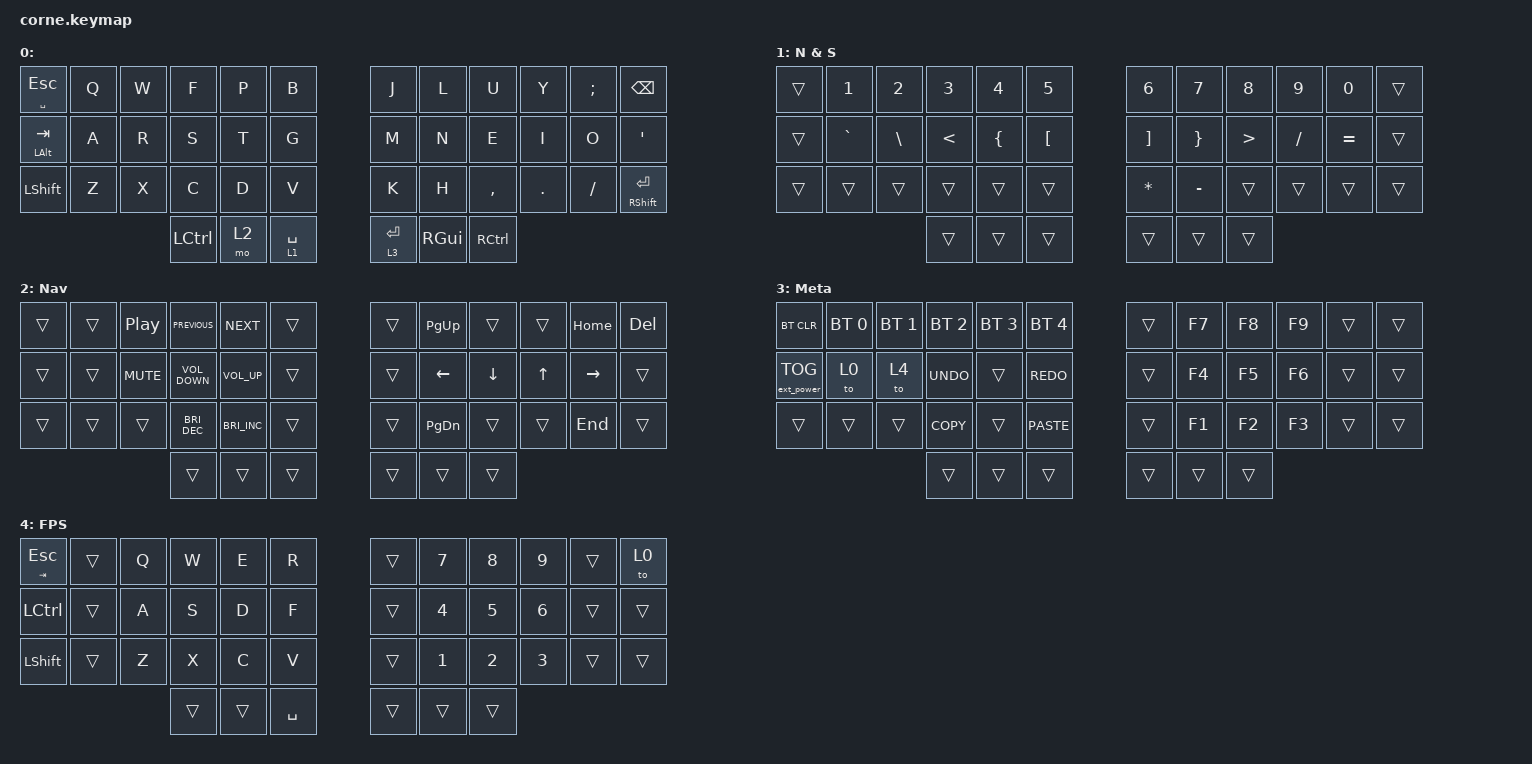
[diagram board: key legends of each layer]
/*
 * Copyright (c) 2020 The ZMK Contributors
 *
 * SPDX-License-Identifier: MIT
 */

#include <behaviors.dtsi>
#include <dt-bindings/zmk/bt.h>
#include <dt-bindings/zmk/ext_power.h>
#include <dt-bindings/zmk/keys.h>

/ {
    combos {
        compatible = "zmk,combos";

        Reset {
            bindings = <&to 0>;
            key-positions = <21 23>;
        };
    };

    keymap {
        compatible = "zmk,keymap";

        Base {
            // -----------------------------------------------------------------------------------------
            // |  TAB |  Q  |  W  |  F  |  P  |  B  |   |  J  |  L   |  U  |  Y  |  ;  | BKSP |
            // | CTRL |  A  |  R  |  S  |  T  |  G  |   |  M  |  N   |  E  |  I  |  O  |  '   |
            // | SHFT |  Z  |  X  |  C  |  D  |  V  |   |  K  |  H   |  ,  |  .  |  /  | ESC  |
            //                    | GUI | LWR | SPC |   | ENT | RSE  | ALT |

            display-name = " ";
            bindings = <
&mt SPACE ESCAPE  &kp Q  &kp W  &kp F             &kp P  &kp B          &kp J        &kp L          &kp U              &kp Y    &kp SEMI  &kp BSPC
&mt LEFT_ALT TAB  &kp A  &kp R  &kp S             &kp T  &kp G          &kp M        &kp N          &kp E              &kp I    &kp O     &kp SQT
&kp LSHFT         &kp Z  &kp X  &kp C             &kp D  &kp V          &kp K        &kp H          &kp COMMA          &kp DOT  &kp FSLH  &mt RIGHT_SHIFT ENTER
                                &kp LEFT_CONTROL  &mo 2  &lt 1 SPACE    &lt 3 ENTER  &kp RIGHT_GUI  &kp RIGHT_CONTROL
            >;
        };

        Numbers {
            // -----------------------------------------------------------------------------------------
            // |  TAB |  1  |  2  |  3  |  4  |  5  |   |  6  |  7  |  8  |  9  |  0  | BKSP |
            // | BTCLR| BT1 | BT2 | BT3 | BT4 | BT5 |   | LFT | DWN |  UP | RGT |     |      |
            // | SHFT |     |     |     |     |     |   |     |     |     |     |     |      |
            //                    | GUI |     | SPC |   | ENT |     | ALT |

            display-name = "N & S";
            bindings = <
&trans  &kp N1     &kp N2         &kp N3         &kp N4          &kp N5              &kp N6             &kp N7           &kp N8            &kp N9     &kp N0     &trans
&trans  &kp GRAVE  &kp BACKSLASH  &kp LESS_THAN  &kp LEFT_BRACE  &kp LEFT_BRACKET    &kp RIGHT_BRACKET  &kp RIGHT_BRACE  &kp GREATER_THAN  &kp SLASH  &kp EQUAL  &trans
&trans  &trans     &trans         &trans         &trans          &trans              &kp STAR           &kp MINUS        &trans            &trans     &trans     &trans
                                  &trans         &trans          &trans              &trans             &trans           &trans
            >;
        };

        Navigation {
            bindings = <
&trans  &trans  &kp C_PLAY_PAUSE  &kp K_PREVIOUS        &kp K_NEXT            &trans    &trans  &kp PAGE_UP    &trans    &trans  &kp HOME   &kp DEL
&trans  &trans  &kp K_MUTE        &kp C_VOLUME_DOWN     &kp C_VOLUME_UP       &trans    &trans  &kp LEFT       &kp DOWN  &kp UP  &kp RIGHT  &trans
&trans  &trans  &trans            &kp C_BRIGHTNESS_DEC  &kp C_BRIGHTNESS_INC  &trans    &trans  &kp PAGE_DOWN  &trans    &trans  &kp END    &trans
                                  &trans                &trans                &trans    &trans  &trans         &trans
            >;

            label = "Nav";
        };

        Meta {
            bindings = <
&bt BT_CLR         &bt BT_SEL 0  &bt BT_SEL 1  &bt BT_SEL 2  &bt BT_SEL 3  &bt BT_SEL 4    &trans  &kp F7  &kp F8  &kp F9  &trans  &trans
&ext_power EP_TOG  &to 0         &to 4         &kp K_UNDO    &trans        &kp K_REDO      &trans  &kp F4  &kp F5  &kp F6  &trans  &trans
&trans             &trans        &trans        &kp K_COPY    &trans        &kp K_PASTE     &trans  &kp F1  &kp F2  &kp F3  &trans  &trans
                                               &trans        &trans        &trans          &trans  &trans  &trans
            >;

            label = "Meta";
        };

        FPS {
            bindings = <
&mt TAB ESCAPE    &trans  &kp Q  &kp W   &kp E   &kp R        &trans  &kp NUMBER_7  &kp NUMBER_8  &kp NUMBER_9  &trans  &to 0
&kp LEFT_CONTROL  &trans  &kp A  &kp S   &kp D   &kp F        &trans  &kp NUMBER_4  &kp NUMBER_5  &kp NUMBER_6  &trans  &trans
&kp LEFT_SHIFT    &trans  &kp Z  &kp X   &kp C   &kp V        &trans  &kp NUMBER_1  &kp NUMBER_2  &kp NUMBER_3  &trans  &trans
                                 &trans  &trans  &kp SPACE    &trans  &trans        &trans
            >;

            label = "FPS";
        };
    };
};
